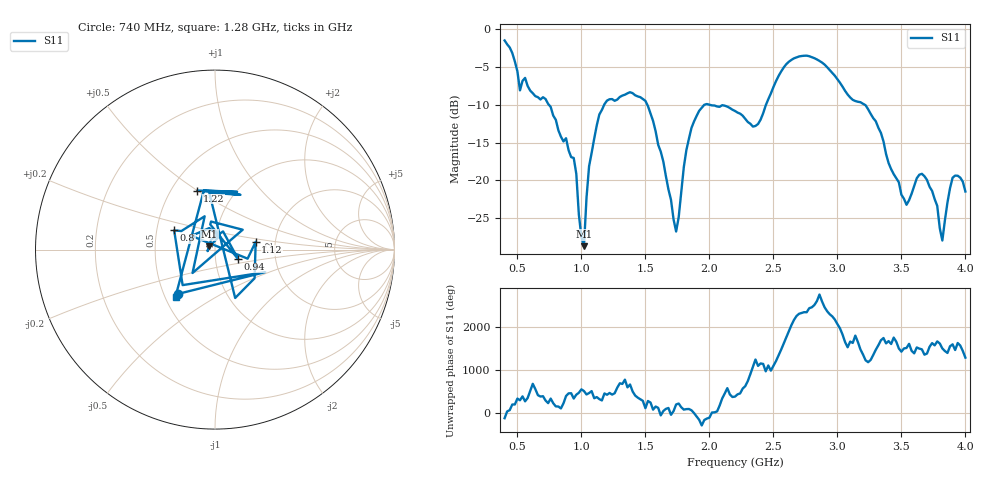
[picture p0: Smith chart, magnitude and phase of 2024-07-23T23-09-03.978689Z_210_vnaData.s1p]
!Created with skrf (http://scikit-rf.org).
# Hz S RI R 50.0
!freq ReS11 ImS11
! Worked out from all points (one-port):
!   181 points, 400 MHz to 4 GHz, reference 50 ohm
!   lowest |S11| = -28.7 dB at 1.02 GHz (marker M1), VSWR 1.08, Z = 46.8 + j1.65 ohm
!   |S11| at or under -10 dB: 1.515 GHz to 1.962 GHz (447.7 MHz wide, 25.8 % of centre); 2 GHz to 2.442 GHz (442.3 MHz wide, 19.9 % of centre); 3.213 GHz to end of sweep (the widest 3 of 4)
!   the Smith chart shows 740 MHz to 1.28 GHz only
!   S11 on the Smith chart (normalised r, x): 740 MHz: 0.59, -0.33; 800 MHz: 0.62, +0.14; 940 MHz: 1.29, -0.14; 1.12 GHz: 1.58, +0.14; 1.22 GHz: 0.67, +0.50; 1.28 GHz: 0.57, -0.34
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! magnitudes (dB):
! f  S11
! 400 MHz  -1.5
! 520 MHz  -8.1
! 740 MHz  -9.9
! 800 MHz  -12.0
! 860 MHz  -14.9
! 940 MHz  -17.0
! 1.02 GHz  -28.7
! 1.06 GHz  -18.1
! 1.12 GHz  -12.7
! 1.22 GHz  -9.3
! 1.28 GHz  -9.3
! 1.3 GHz  -9.0
! 1.5 GHz  -9.5
! 1.74 GHz  -26.8
! 1.76 GHz  -24.9
! 1.82 GHz  -16.0
! 1.92 GHz  -10.8
! 2.2 GHz  -10.8
! 2.38 GHz  -12.6
! 2.66 GHz  -3.9
! 3.1 GHz  -9.0
! 3.3 GHz  -12.2
! 3.56 GHz  -22.6
! 3.68 GHz  -19.4
! 3.78 GHz  -23.4
! 3.82 GHz  -27.9
! 3.9 GHz  -19.6
! 4 GHz  -21.5
